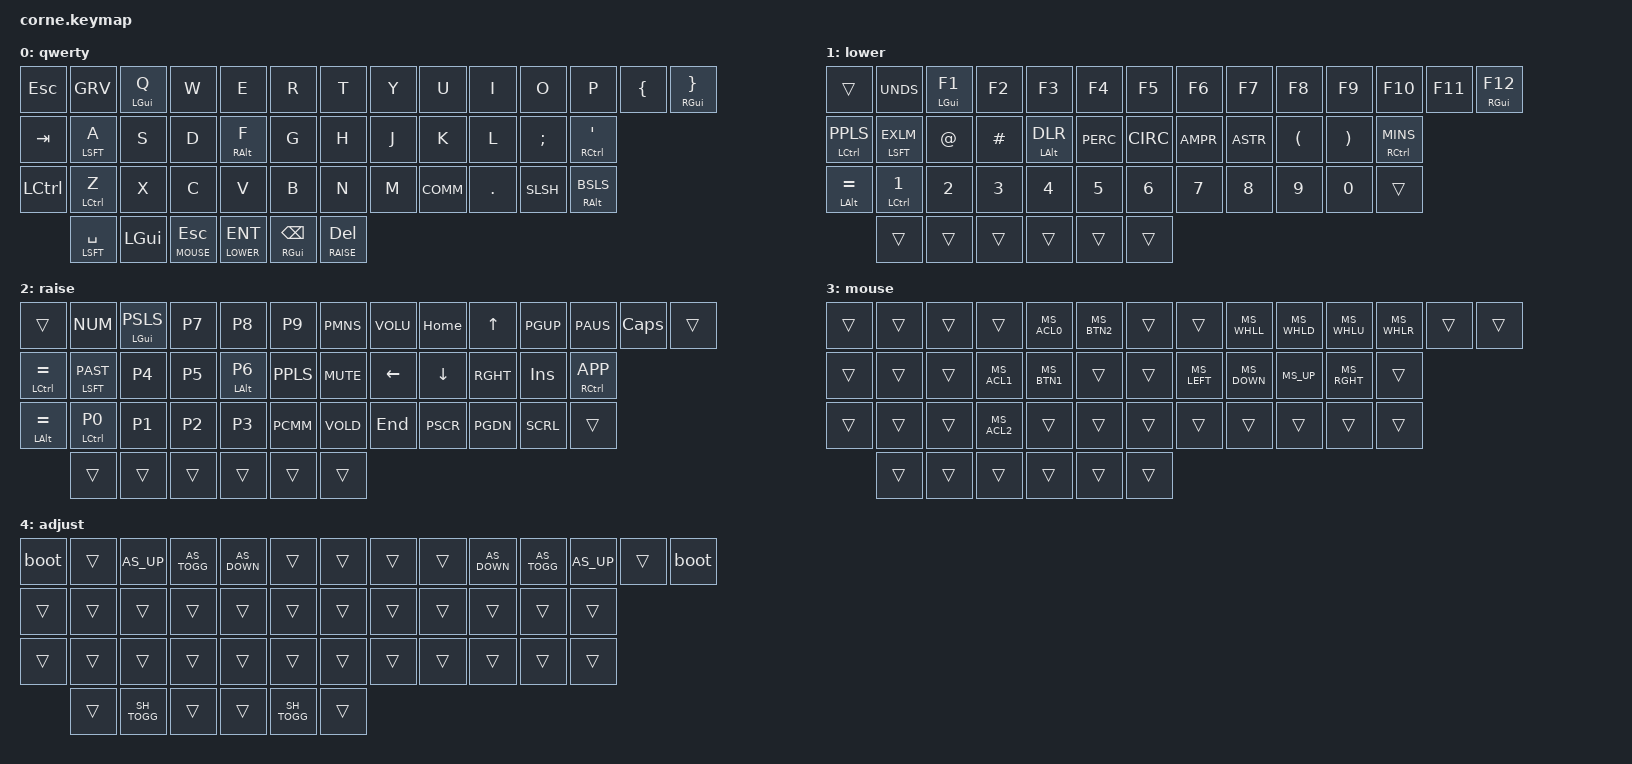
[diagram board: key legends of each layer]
/ {
    keymap {
        compatible = "zmk,keymap";
        default_layer = "qwerty";
        layer_names = "qwerty", "lower", "raise", "mouse", "adjust";

        qwerty {
            bindings = <
                /* Row 1 */
                &kp ESC    &kp GRV    &mt LGUI Q      &kp W    &kp E    &kp R    &kp T    &kp Y    &kp U    &kp I    &kp O    &kp P    &kp LBRC    &mt RGUI RBRC
                /* Row 2 */
                &kp TAB    &mt LSFT A  &kp S    &kp D    &mt RALT F  &kp G    &kp H    &kp J    &kp K    &kp L    &kp SCLN   &mt RCTL QUOT
                /* Row 3 */
                &kp LCTL   &mt LCTL Z  &kp X    &kp C    &kp V    &kp B    &kp N    &kp M    &kp COMM   &kp DOT   &kp SLSH   &mt RALT BSLS
                /* Row 4 */
                          &mt LSFT SPC   &kp LGUI   &lt MOUSE ESC   &lt LOWER ENT   &mt RGUI BSPC   &lt RAISE DEL
            >;
        };

        lower {
            bindings = <
                /* Row 1 */
                &trans    &kp UNDS    &mt LGUI F1    &kp F2    &kp F3    &kp F4    &kp F5    &kp F6    &kp F7    &kp F8    &kp F9    &kp F10   &kp F11    &mt RGUI F12
                /* Row 2 */
                &mt LCTL PPLS   &mt LSFT EXLM   &kp AT    &kp HASH   &mt LALT DLR   &kp PERC   &kp CIRC   &kp AMPR   &kp ASTR   &kp LPRN   &kp RPRN   &mt RCTL MINS
                /* Row 3 */
                &mt LALT EQL    &mt LCTL 1     &kp 2    &kp 3    &kp 4    &kp 5    &kp 6    &kp 7    &kp 8    &kp 9    &kp 0    &trans
                /* Row 4 */
                          &trans   &trans   &trans   &trans   &trans   &trans
            >;
        };

        raise {
            bindings = <
                /* Row 1 */
                &trans    &kp NUM    &mt LGUI PSLS    &kp P7    &kp P8    &kp P9    &kp PMNS   &kp VOLU   &kp HOME   &kp UP    &kp PGUP   &kp PAUS   &kp CAPS    &trans
                /* Row 2 */
                &mt LCTL EQL    &mt LSFT PAST   &kp P4    &kp P5    &mt LALT P6   &kp PPLS   &kp MUTE   &kp LEFT   &kp DOWN   &kp RGHT   &kp INS    &mt RCTL APP
                /* Row 3 */
                &mt LALT EQL    &mt LCTL P0    &kp P1    &kp P2    &kp P3    &kp PCMM   &kp VOLD   &kp END    &kp PSCR   &kp PGDN   &kp SCRL   &trans
                /* Row 4 */
                          &trans   &trans   &trans   &trans   &trans   &trans
            >;
        };

        mouse {
            bindings = <
                /* Row 1 */
                &trans    &trans    &trans    &trans    &kp MS_ACL0    &kp MS_BTN2    &trans    &trans    &kp MS_WHLL    &kp MS_WHLD    &kp MS_WHLU    &kp MS_WHLR    &trans    &trans
                /* Row 2 */
                &trans    &trans    &trans    &kp MS_ACL1    &kp MS_BTN1    &trans    &trans    &kp MS_LEFT    &kp MS_DOWN    &kp MS_UP    &kp MS_RGHT    &trans
                /* Row 3 */
                &trans    &trans    &trans    &kp MS_ACL2    &trans    &trans    &trans    &trans    &trans    &trans    &trans    &trans
                /* Row 4 */
                          &trans   &trans   &trans   &trans   &trans   &trans
            >;
        };

        adjust {
            bindings = <
                /* Row 1 – убраны клавиши, связанные с RGB */
                &boot    &trans    &kp AS_UP    &kp AS_TOGG    &kp AS_DOWN    &trans    &trans    &trans    &trans    &kp AS_DOWN    &kp AS_TOGG    &kp AS_UP    &trans    &boot
                /* Row 2 */
                &trans   &trans   &trans   &trans   &trans   &trans   &trans   &trans   &trans   &trans   &trans   &trans
                /* Row 3 */
                &trans   &trans   &trans   &trans   &trans   &trans   &trans   &trans   &trans   &trans   &trans   &trans
                /* Row 4 */
                          &trans   &kp SH_TOGG   &trans   &trans   &kp SH_TOGG   &trans
            >;
        };
    };
};

combos {
    compatible = "zmk,combos";

    qwerty_esc {
        timeout-ms = <50>;
        key-positions = <2 3>;
        bindings = <&kp ESC>;
    };

    yu_left_paren {
        timeout-ms = <50>;
        key-positions = <7 8>;
        bindings = <&kp LEFT_PAREN>;
    };

    ui_right_paren {
        timeout-ms = <50>;
        key-positions = <8 9>;
        bindings = <&kp RIGHT_PAREN>;
    };

    hj_left_curly {
        timeout-ms = <50>;
        key-positions = <20 21>;
        bindings = <&kp LEFT_CURLY_BRACE>;
    };

    jk_right_curly {
        timeout-ms = <50>;
        key-positions = <21 22>;
        bindings = <&kp RIGHT_CURLY_BRACE>;
    };

    nm_pipe {
        timeout-ms = <50>;
        key-positions = <32 33>;
        bindings = <&kp PIPE>;
    };

    rt_underscore {
        timeout-ms = <50>;
        key-positions = <5 6>;
        bindings = <&kp UNDERSCORE>;
    };
};
